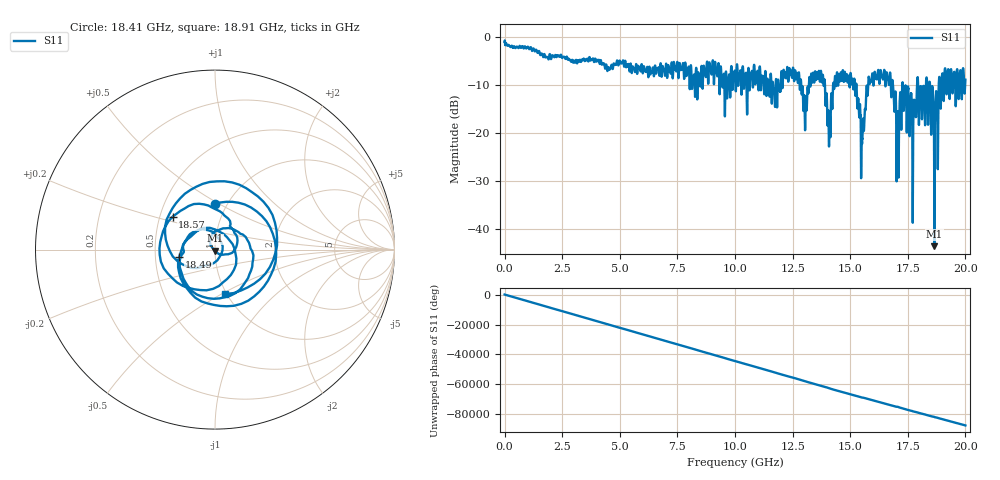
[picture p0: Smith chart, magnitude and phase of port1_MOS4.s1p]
! MS46122B
! 2250307/22442219
! 6/16/2025 7:47:36 AM
! C:\USERS\SPARKY\DOCUMENTS\VNA_DATA\JUNE16_2025\3.1K\PORT1_MOS4.S1P
! CHANNEL.1
! TR.MEASUREMENT
! RAW.DATA
# GHZ S RI R 50.0
! FREQ.GHZ  S11RE  S11IM
!; PortSelection: Port_1
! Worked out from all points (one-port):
!   10001 points, 1 MHz to 20 GHz, reference 50 ohm
!   lowest |S11| = -43.6 dB at 18.65 GHz (marker M1), VSWR 1.01, Z = 50.1 - j0.661 ohm
!   |S11| at or under -10 dB: 15.27 GHz to 15.78 GHz (506.7 MHz wide, 3.26 % of centre); 16.86 GHz to 17.26 GHz (404.7 MHz wide, 2.37 % of centre); 17.28 GHz to 17.9 GHz (616.2 MHz wide, 3.5 % of centre) (the widest 3 of 58)
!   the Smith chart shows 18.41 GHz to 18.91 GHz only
!   S11 on the Smith chart (normalised r, x): 18.41 GHz: 0.87, +0.48; 18.49 GHz: 0.67, -0.05; 18.57 GHz: 0.58, +0.23; 18.91 GHz: 0.98, -0.52
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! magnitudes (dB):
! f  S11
! 1 MHz  -1.0
! 2.501 GHz  -4.3
! 5.001 GHz  -4.9
! 7.501 GHz  -5.2
! 10 GHz  -7.2
! 11.75 GHz  -12.2
! 12.5 GHz  -7.1
! 13.04 GHz  -19.4
! 13.73 GHz  -7.0
! 14.08 GHz  -22.6
! 14.35 GHz  -8.2
! 15 GHz  -8.3
! 15.53 GHz  -20.0
! 15.79 GHz  -9.0
! 16.14 GHz  -8.6
! 16.79 GHz  -12.4
! 17.04 GHz  -17.0
! 17.33 GHz  -14.4
! 17.5 GHz  -11.2
! 17.78 GHz  -13.3
! 17.98 GHz  -18.0
! 18.41 GHz  -11.8
! 18.49 GHz  -13.9
! 18.57 GHz  -10.5
! 18.65 GHz  -43.6
! 18.73 GHz  -11.3
! 18.91 GHz  -11.9
! 20 GHz  -8.9
